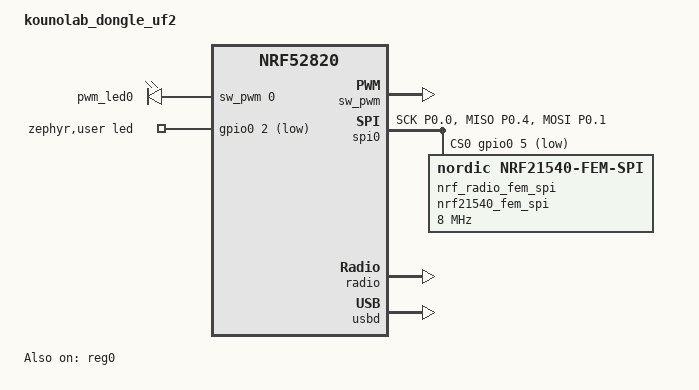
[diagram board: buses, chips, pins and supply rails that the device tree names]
// Copyright (c) 2024 Nordic Semiconductor ASA
// SPDX-License-Identifier: Apache-2.0

/dts-v1/;
#include <nordic/nrf52820_qdaa.dtsi>

//move to dtsi?
&pinctrl {
	spi0_default: spi0_default {
		group1 {
			psels = <NRF_PSEL(SPIM_SCK, 0, 0)>,
				<NRF_PSEL(SPIM_MISO, 0, 4)>,
				<NRF_PSEL(SPIM_MOSI, 0, 1)>;
		};
	};

	spi0_sleep: spi0_sleep {
		group1 {
			psels = <NRF_PSEL(SPIM_SCK, 0, 0)>,
				<NRF_PSEL(SPIM_MISO, 0, 4)>,
				<NRF_PSEL(SPIM_MOSI, 0, 1)>;
			low-power-enable;
		};
	};
};
//end

/ {
	model = "kounolab_dongle_uf2";
	compatible = "kounolabdongle_uf2";

	chosen {
		zephyr,sram = &sram0;
		zephyr,flash = &flash0;
		zephyr,console = &cdc_acm_uart0;
		zephyr,shell-uart = &cdc_acm_uart0;
	};

	pwmleds {
		compatible = "pwm-leds";
		pwm_led0: pwm_led_0 {
			pwms = <&sw_pwm 0 PWM_MSEC(10) PWM_POLARITY_INVERTED>;
		};
	};

	nrf_radio_fem: nrf21540_fem {
		compatible = "nordic,nrf21540-fem";
		spi-if = <&nrf_radio_fem_spi>;
		supply-voltage-mv = <3000>;
	};

	aliases {
		pwm-led0 = &pwm_led0;
	};

	zephyr,user {
		led-gpios = <&gpio0 2 (GPIO_ACTIVE_LOW | GPIO_OPEN_DRAIN)>;
	};
};

&reg0 {
	status = "okay";
};

&gpio0 {
	status = "okay";
};

&gpiote {
	status = "okay";
};

&sw_pwm {
	status = "okay";
	channel-gpios = <&gpio0 2 (GPIO_ACTIVE_LOW | GPIO_OPEN_DRAIN)>;
};

fem_spi: &spi0 {
	status = "okay";
	cs-gpios = <&gpio0 5 GPIO_ACTIVE_LOW>;

	pinctrl-0 = <&spi0_default>;
	pinctrl-1 = <&spi0_sleep>;
	pinctrl-names = "default", "sleep";
	nrf_radio_fem_spi: nrf21540_fem_spi@0 {
		compatible = "nordic,nrf21540-fem-spi";
		status = "okay";
		reg = <0>;
		spi-max-frequency = <8000000>;
	};
};

&radio {
	fem = <&nrf_radio_fem>;
};

zephyr_udc0: &usbd {
	compatible = "nordic,nrf-usbd";
	status = "okay";
	cdc_acm_uart0: cdc_acm_uart0 {
		compatible = "zephyr,cdc-acm-uart";
	};
};
